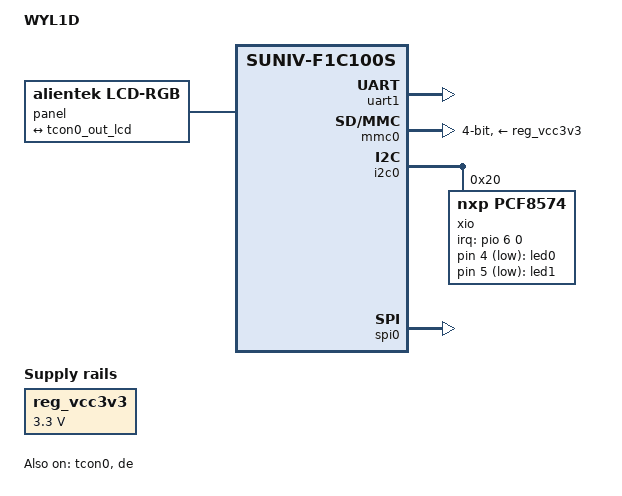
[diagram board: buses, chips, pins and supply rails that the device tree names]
// SPDX-License-Identifier: (GPL-2.0+ OR X11)
/*
 * Copyright 2022 Weiye Wang <wwytxjy@163.com>
 */

/dts-v1/;
#include <dt-bindings/interrupt-controller/irq.h>
#include <dt-bindings/gpio/gpio.h>
#include "suniv-f1c100s.dtsi"

/ {
	model = "WYL1D";
	compatible = "weiye,wyl1d", "allwinner,suniv-f1c100s";

	aliases {
		serial0 = &uart0;
		serial1 = &uart1;
	};

	chosen {
		stdout-path = "serial1:115200n8";
	};

	reg_vcc3v3: vcc3v3 {
		compatible = "regulator-fixed";
		regulator-name = "vcc3v3";
		regulator-min-microvolt = <3300000>;
		regulator-max-microvolt = <3300000>;
	};

	gpio_leds: gpio_leds {
		compatible = "gpio-leds";

		led0 {
			label = "led0";
			gpios = <&xio 4 GPIO_ACTIVE_LOW>;
			linux,default-trigger = "backlignt";
			default-state = "off";
		};

		led1 {
			label = "led1";
			gpios = <&xio 5 GPIO_ACTIVE_LOW>;
			linux,default-trigger = "backlignt";
			default-state = "off";
		};
	};

	panel: panel {
		compatible = "alientek,lcd-rgb", "simple-panel";
		#address-cells = <1>;
		#size-cells = <0>;

		port@0 {
			reg = <0>;
			#address-cells = <1>;
			#size-cells = <0>;

			panel_input: endpoint@0 {
				reg = <0>;
				remote-endpoint = <&tcon0_out_lcd>;
			};
		};
	};

	esp8089: esp8089 {
		rst-gpios = <&xio 0 GPIO_ACTIVE_LOW>;
		int = <&pio 4 0 GPIO_ACTIVE_HIGH>;
	};
};

&uart0 {
	pinctrl-names = "default";
	pinctrl-0 = <&uart0_pe_pins>;
	status = "disabled";
};

&uart1 {
	pinctrl-names = "default";
	pinctrl-0 = <&uart1_pe_pins>;
	status = "okay";
};

&mmc0 {
	vmmc-supply = <&reg_vcc3v3>;
	bus-width = <4>;
	broken-cd;
	status = "okay";
};

&i2c0 {
	status = "okay";

	xio: gpio@20 {
		compatible = "nxp,pcf8574";
		reg = <0x20>;

		gpio-controller;
		#gpio-cells = <2>;

		interrupt-parent = <&pio>;
		interrupts = <6 0 IRQ_TYPE_EDGE_FALLING>;
		interrupt-controller;
		#interrupt-cells = <2>;
	};
};

&tcon0 {
	pinctrl-names = "default";
	pinctrl-0 = <&lcd_rgb666_pins>;
	status = "okay";
};

&tcon0_out {
	tcon0_out_lcd: endpoint@0 {
		reg = <0>;
		remote-endpoint = <&panel_input>;
	};
};

&de {
	status = "okay";
};

&spi0 {
	status = "okay";
};
